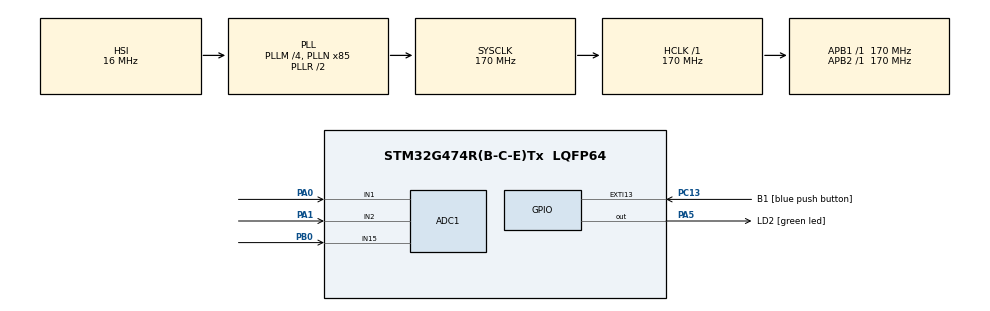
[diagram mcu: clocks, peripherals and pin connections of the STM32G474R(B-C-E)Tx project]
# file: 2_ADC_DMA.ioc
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ADC1.Channel-1\#ChannelRegularConversion=ADC_CHANNEL_1
ADC1.Channel-2\#ChannelRegularConversion=ADC_CHANNEL_2
ADC1.Channel-3\#ChannelRegularConversion=ADC_CHANNEL_15
ADC1.Channel-4\#ChannelRegularConversion=ADC_CHANNEL_TEMPSENSOR_ADC1
ADC1.ContinuousConvMode=ENABLE
ADC1.DMAContinuousRequests=ENABLE
ADC1.NbrOfConversion=4
ADC1.NbrOfConversionFlag=1
ADC1.OffsetNumber-1\#ChannelRegularConversion=ADC_OFFSET_NONE
ADC1.OffsetNumber-2\#ChannelRegularConversion=ADC_OFFSET_NONE
ADC1.OffsetNumber-3\#ChannelRegularConversion=ADC_OFFSET_NONE
ADC1.OffsetNumber-4\#ChannelRegularConversion=ADC_OFFSET_NONE
ADC1.Rank-1\#ChannelRegularConversion=1
ADC1.Rank-2\#ChannelRegularConversion=2
ADC1.Rank-3\#ChannelRegularConversion=3
ADC1.Rank-4\#ChannelRegularConversion=4
ADC1.SamplingTime-1\#ChannelRegularConversion=ADC_SAMPLETIME_640CYCLES_5
ADC1.SamplingTime-2\#ChannelRegularConversion=ADC_SAMPLETIME_640CYCLES_5
ADC1.SamplingTime-3\#ChannelRegularConversion=ADC_SAMPLETIME_640CYCLES_5
ADC1.SamplingTime-4\#ChannelRegularConversion=ADC_SAMPLETIME_640CYCLES_5
ADC1.master=1
Dma.ADC1.0.Direction=DMA_PERIPH_TO_MEMORY
Dma.ADC1.0.EventEnable=DISABLE
Dma.ADC1.0.Instance=DMA1_Channel1
Dma.ADC1.0.MemDataAlignment=DMA_MDATAALIGN_WORD
Dma.ADC1.0.MemInc=DMA_MINC_ENABLE
Dma.ADC1.0.Mode=DMA_CIRCULAR
Dma.ADC1.0.PeriphDataAlignment=DMA_PDATAALIGN_WORD
Dma.ADC1.0.PeriphInc=DMA_PINC_DISABLE
Dma.ADC1.0.Polarity=HAL_DMAMUX_REQ_GEN_RISING
Dma.ADC1.0.Priority=DMA_PRIORITY_LOW
Dma.ADC1.0.RequestNumber=1
Dma.ADC1.0.SignalID=NONE
Dma.ADC1.0.SyncEnable=DISABLE
Dma.ADC1.0.SyncPolarity=HAL_DMAMUX_SYNC_NO_EVENT
Dma.ADC1.0.SyncRequestNumber=1
Dma.ADC1.0.SyncSignalID=NONE
Dma.Request0=ADC1
Mcu.Family=STM32G4
Mcu.Name=STM32G474R(B-C-E)Tx
Mcu.Package=LQFP64
NVIC.DMA1_Channel1_IRQn=true\:0\:0\:false\:false\:true\:false\:true\:true
NVIC.EXTI15_10_IRQn=true\:0\:0\:false\:false\:true\:true\:true\:true
NVIC.PriorityGroup=NVIC_PRIORITYGROUP_4
PA0.Mode=IN1-Single-Ended
PA0.Signal=ADC1_IN1
PA1.Mode=IN2-Single-Ended
PA1.Signal=ADC1_IN2
PA13.GPIO_Label=T_SWDIO
PA13.Mode=Serial_Wire
PA13.Signal=SYS_JTMS-SWDIO
PA14.GPIO_Label=T_SWCLK
PA14.Mode=Serial_Wire
PA14.Signal=SYS_JTCK-SWCLK
PA2.GPIO_Label=LPUART1_TX [STLINKV3E_VCP_RX]
PA2.Signal=LPUART1_TX
PA3.GPIO_Label=LPUART1_RX [STLINKV3E_VCP_TX]
PA3.Signal=LPUART1_RX
PA5.GPIO_Label=LD2 [green led]
PA5.Signal=GPIO_Output
PB0.Mode=IN15-Single-Ended
PB0.Signal=ADC1_IN15
PB3.GPIO_Label=T_SWO
PB3.Signal=SYS_JTDO-SWO
PC13.GPIO_Label=B1 [blue push button]
PC13.Signal=GPXTI13
PC14-OSC32_IN.GPIO_Label=RCC_OSC32_IN
PC14-OSC32_IN.Signal=RCC_OSC32_IN
PC15-OSC32_OUT.GPIO_Label=RCC_OSC32_OUT
PC15-OSC32_OUT.Signal=RCC_OSC32_OUT
PF0-OSC_IN.GPIO_Label=RCC_OSC_IN
PF0-OSC_IN.Signal=RCC_OSC_IN
PF1-OSC_OUT.GPIO_Label=RCC_OSC_OUT
PF1-OSC_OUT.Signal=RCC_OSC_OUT
ProjectManager.HeapSize=0x200
ProjectManager.StackSize=0x400
ProjectManager.TargetToolchain=STM32CubeIDE
RCC.ADC12Freq_Value=170000000
RCC.ADC345Freq_Value=170000000
RCC.AHBFreq_Value=170000000
RCC.APB1Freq_Value=170000000
RCC.APB1TimFreq_Value=170000000
RCC.APB2Freq_Value=170000000
RCC.APB2TimFreq_Value=170000000
RCC.CortexFreq_Value=170000000
RCC.EXTERNAL_CLOCK_VALUE=12288000
RCC.HCLKFreq_Value=170000000
RCC.HSE_VALUE=24000000
RCC.HSI48_VALUE=48000000
RCC.HSI_VALUE=16000000
RCC.LSE_VALUE=32768
RCC.PLLM=RCC_PLLM_DIV4
RCC.PLLN=85
RCC.RTCClockSelection=RCC_RTCCLKSOURCE_LSE
RCC.SYSCLKFreq_VALUE=170000000
RCC.SYSCLKSource=RCC_SYSCLKSOURCE_PLLCLK
RCC.USBFreq_Value=170000000
RCC.VCOOutputFreq_Value=340000000
VP_ADC1_TempSens_Input.Mode=IN-TempSens
VP_SYS_VS_DBSignals.Mode=DisableDeadBatterySignals
board=NUCLEO-G474RE

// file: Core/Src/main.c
/* USER CODE BEGIN Header */
/**
  ******************************************************************************
  * @file           : main.c
  * @brief          : Main program body
  ******************************************************************************
  * @attention
  *
  * Copyright (c) 2026 STMicroelectronics.
  * All rights reserved.
  *
  * This software is licensed under terms that can be found in the LICENSE file
  * in the root directory of this software component.
  * If no LICENSE file comes with this software, it is provided AS-IS.
  *
  ******************************************************************************
  */
/* USER CODE END Header */
#include "main.h"

/* USER CODE BEGIN Includes */
#include <stdio.h>
/* USER CODE END Includes */

ADC_HandleTypeDef hadc1;
DMA_HandleTypeDef hdma_adc1;

/* USER CODE BEGIN PV */
 uint32_t adc_buffer[400]; // ใส่ volatile กัน compiler ตัดทิ้ง
 uint32_t avg_val = 0;    // ตัวแปรที่จะดูใน Live Expression
/* USER CODE END PV */

void SystemClock_Config(void);
static void MX_GPIO_Init(void);
static void MX_DMA_Init(void);
static void MX_ADC1_Init(void);

/* USER CODE BEGIN 0 */
int _write(int file, char *ptr, int len) {
  int DataIdx;
  for (DataIdx = 0; DataIdx < len; DataIdx++) {
    ITM_SendChar(*ptr++);
  }
  return len;
}
/* USER CODE END 0 */

int main(void)
{

  /* MCU Configuration--------------------------------------------------------*/

  /* Reset of all peripherals, Initializes the Flash interface and the Systick. */
  HAL_Init();

  /* Configure the system clock */
  SystemClock_Config();

  /* Initialize all configured peripherals */
  MX_GPIO_Init();
  MX_DMA_Init();
  MX_ADC1_Init();
  /* USER CODE BEGIN 2 */
	  HAL_ADCEx_Calibration_Start(&hadc1, ADC_SINGLE_ENDED); // คาถาบูชา (Optional แต่ใส่ไว้ก็ดี)
	  HAL_ADC_Start_DMA(&hadc1, adc_buffer, 400); // เริ่มอ่านลง Buffer (10 ตัว)
  /* USER CODE END 2 */

  /* Infinite loop */
  while (1)
  {

    /* USER CODE BEGIN 3 */
//	  // ปริ้นท์ค่าทุกๆ 0.5 วินาที
//	  printf("ADC Value: %lu\r\n", avg_val); // \r\n คือขึ้นบรรทัดใหม่
//	  HAL_Delay(500);
  }
  /* USER CODE END 3 */
}

void SystemClock_Config(void)
{
  RCC_OscInitTypeDef RCC_OscInitStruct = {0};
  RCC_ClkInitTypeDef RCC_ClkInitStruct = {0};

  /** Configure the main internal regulator output voltage
  */
  HAL_PWREx_ControlVoltageScaling(PWR_REGULATOR_VOLTAGE_SCALE1_BOOST);

  /** Initializes the RCC Oscillators according to the specified parameters
  * in the RCC_OscInitTypeDef structure.
  */
  RCC_OscInitStruct.OscillatorType = RCC_OSCILLATORTYPE_HSI;
  RCC_OscInitStruct.HSIState = RCC_HSI_ON;
  RCC_OscInitStruct.HSICalibrationValue = RCC_HSICALIBRATION_DEFAULT;
  RCC_OscInitStruct.PLL.PLLState = RCC_PLL_ON;
  RCC_OscInitStruct.PLL.PLLSource = RCC_PLLSOURCE_HSI;
  RCC_OscInitStruct.PLL.PLLM = RCC_PLLM_DIV4;
  RCC_OscInitStruct.PLL.PLLN = 85;
  RCC_OscInitStruct.PLL.PLLP = RCC_PLLP_DIV2;
  RCC_OscInitStruct.PLL.PLLQ = RCC_PLLQ_DIV2;
  RCC_OscInitStruct.PLL.PLLR = RCC_PLLR_DIV2;
  if (HAL_RCC_OscConfig(&RCC_OscInitStruct) != HAL_OK)
  {
    Error_Handler();
  }

  /** Initializes the CPU, AHB and APB buses clocks
  */
  RCC_ClkInitStruct.ClockType = RCC_CLOCKTYPE_HCLK|RCC_CLOCKTYPE_SYSCLK
                              |RCC_CLOCKTYPE_PCLK1|RCC_CLOCKTYPE_PCLK2;
  RCC_ClkInitStruct.SYSCLKSource = RCC_SYSCLKSOURCE_PLLCLK;
  RCC_ClkInitStruct.AHBCLKDivider = RCC_SYSCLK_DIV1;
  RCC_ClkInitStruct.APB1CLKDivider = RCC_HCLK_DIV1;
  RCC_ClkInitStruct.APB2CLKDivider = RCC_HCLK_DIV1;

  if (HAL_RCC_ClockConfig(&RCC_ClkInitStruct, FLASH_LATENCY_4) != HAL_OK)
  {
    Error_Handler();
  }
}

static void MX_ADC1_Init(void)
{

  ADC_MultiModeTypeDef multimode = {0};
  ADC_ChannelConfTypeDef sConfig = {0};

  /** Common config
  */
  hadc1.Instance = ADC1;
  hadc1.Init.ClockPrescaler = ADC_CLOCK_SYNC_PCLK_DIV4;
  hadc1.Init.Resolution = ADC_RESOLUTION_12B;
  hadc1.Init.DataAlign = ADC_DATAALIGN_RIGHT;
  hadc1.Init.GainCompensation = 0;
  hadc1.Init.ScanConvMode = ADC_SCAN_ENABLE;
  hadc1.Init.EOCSelection = ADC_EOC_SINGLE_CONV;
  hadc1.Init.LowPowerAutoWait = DISABLE;
  hadc1.Init.ContinuousConvMode = ENABLE;
  hadc1.Init.NbrOfConversion = 4;
  hadc1.Init.DiscontinuousConvMode = DISABLE;
  hadc1.Init.ExternalTrigConv = ADC_SOFTWARE_START;
  hadc1.Init.ExternalTrigConvEdge = ADC_EXTERNALTRIGCONVEDGE_NONE;
  hadc1.Init.DMAContinuousRequests = ENABLE;
  hadc1.Init.Overrun = ADC_OVR_DATA_PRESERVED;
  hadc1.Init.OversamplingMode = DISABLE;
  if (HAL_ADC_Init(&hadc1) != HAL_OK)
  {
    Error_Handler();
  }

  /** Configure the ADC multi-mode
  */
  multimode.Mode = ADC_MODE_INDEPENDENT;
  if (HAL_ADCEx_MultiModeConfigChannel(&hadc1, &multimode) != HAL_OK)
  {
    Error_Handler();
  }

  /** Configure Regular Channel
  */
  sConfig.Channel = ADC_CHANNEL_1;
  sConfig.Rank = ADC_REGULAR_RANK_1;
  sConfig.SamplingTime = ADC_SAMPLETIME_640CYCLES_5;
  sConfig.SingleDiff = ADC_SINGLE_ENDED;
  sConfig.OffsetNumber = ADC_OFFSET_NONE;
  sConfig.Offset = 0;
  if (HAL_ADC_ConfigChannel(&hadc1, &sConfig) != HAL_OK)
  {
    Error_Handler();
  }

  /** Configure Regular Channel
  */
  sConfig.Channel = ADC_CHANNEL_2;
  sConfig.Rank = ADC_REGULAR_RANK_2;
  if (HAL_ADC_ConfigChannel(&hadc1, &sConfig) != HAL_OK)
  {
    Error_Handler();
  }

  /** Configure Regular Channel
  */
  sConfig.Channel = ADC_CHANNEL_15;
  sConfig.Rank = ADC_REGULAR_RANK_3;
  if (HAL_ADC_ConfigChannel(&hadc1, &sConfig) != HAL_OK)
  {
    Error_Handler();
  }

  /** Configure Regular Channel
  */
  sConfig.Channel = ADC_CHANNEL_TEMPSENSOR_ADC1;
  sConfig.Rank = ADC_REGULAR_RANK_4;
  if (HAL_ADC_ConfigChannel(&hadc1, &sConfig) != HAL_OK)
  {
    Error_Handler();
  }

}

static void MX_DMA_Init(void)
{

  /* DMA controller clock enable */
  __HAL_RCC_DMAMUX1_CLK_ENABLE();
  __HAL_RCC_DMA1_CLK_ENABLE();

  /* DMA interrupt init */
  /* DMA1_Channel1_IRQn interrupt configuration */
  HAL_NVIC_SetPriority(DMA1_Channel1_IRQn, 0, 0);
  HAL_NVIC_EnableIRQ(DMA1_Channel1_IRQn);

}

static void MX_GPIO_Init(void)
{
  GPIO_InitTypeDef GPIO_InitStruct = {0};

  /* GPIO Ports Clock Enable */
  __HAL_RCC_GPIOC_CLK_ENABLE();
  __HAL_RCC_GPIOF_CLK_ENABLE();
  __HAL_RCC_GPIOA_CLK_ENABLE();
  __HAL_RCC_GPIOB_CLK_ENABLE();

  /*Configure GPIO pin Output Level */
  HAL_GPIO_WritePin(LD2_GPIO_Port, LD2_Pin, GPIO_PIN_RESET);

  /*Configure GPIO pin : B1_Pin */
  GPIO_InitStruct.Pin = B1_Pin;
  GPIO_InitStruct.Mode = GPIO_MODE_IT_RISING;
  GPIO_InitStruct.Pull = GPIO_NOPULL;
  HAL_GPIO_Init(B1_GPIO_Port, &GPIO_InitStruct);

  /*Configure GPIO pins : LPUART1_TX_Pin LPUART1_RX_Pin */
  GPIO_InitStruct.Pin = LPUART1_TX_Pin|LPUART1_RX_Pin;
  GPIO_InitStruct.Mode = GPIO_MODE_AF_PP;
  GPIO_InitStruct.Pull = GPIO_NOPULL;
  GPIO_InitStruct.Speed = GPIO_SPEED_FREQ_LOW;
  GPIO_InitStruct.Alternate = GPIO_AF12_LPUART1;
  HAL_GPIO_Init(GPIOA, &GPIO_InitStruct);

  /*Configure GPIO pin : LD2_Pin */
  GPIO_InitStruct.Pin = LD2_Pin;
  GPIO_InitStruct.Mode = GPIO_MODE_OUTPUT_PP;
  GPIO_InitStruct.Pull = GPIO_NOPULL;
  GPIO_InitStruct.Speed = GPIO_SPEED_FREQ_LOW;
  HAL_GPIO_Init(LD2_GPIO_Port, &GPIO_InitStruct);

  /* EXTI interrupt init*/
  HAL_NVIC_SetPriority(EXTI15_10_IRQn, 0, 0);
  HAL_NVIC_EnableIRQ(EXTI15_10_IRQn);

}

/* USER CODE BEGIN 4 */
void HAL_ADC_ConvCpltCallback(ADC_HandleTypeDef* hadc)
{
  if(hadc->Instance == ADC1)
  {
    uint32_t sum = 0;
    for(int i = 0; i < 400; i+=4)
    {
        sum += adc_buffer[i];
    }
    avg_val = sum / 100;
  }
}
/* USER CODE END 4 */

void Error_Handler(void)
{
  __disable_irq();
  while (1)
  {
  }
}
